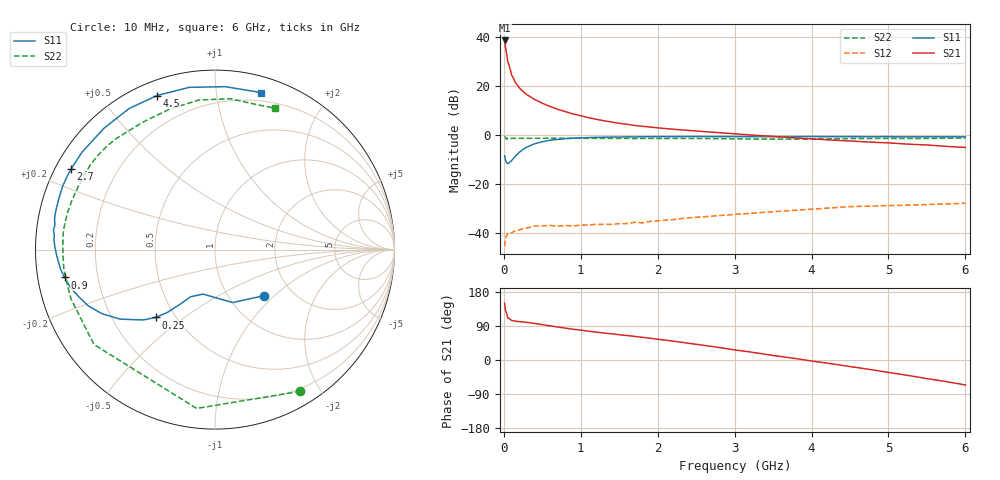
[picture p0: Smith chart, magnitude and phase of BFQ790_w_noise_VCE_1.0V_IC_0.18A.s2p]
! Infineon Technologies  Discrete & RF Semiconductors
! BFQ790
! VCE =  1.0 V,  IC = 0.18 A
! Common Emitter S-Parameters:  May 2015
# GHz  S  MA  R  50
!  f  S11  S21  S12  S22
! GHz  MAG  ANG  MAG  ANG  MAG  ANG  MAG  ANG
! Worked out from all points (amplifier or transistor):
!   77 points, 10 MHz to 6 GHz, reference 50 ohm
!   highest |S21| = 38.5 dB at 10 MHz (marker M1)
!   |S21| within 3 dB of that: start of sweep to 22.84 MHz
!   unconditionally stable (mu >= 1): 266.2 MHz to end of sweep
!   at 130 MHz: K = 0.74, MSG = 31.1 dB, |S12| = -39.5 dB
!   at 2.2 GHz: K = 1.29, MAG = 15.2 dB, |S12| = -34.7 dB
!   at 6 GHz: K = 1.17, MAG = 8.9 dB, |S12| = -28.0 dB
!   lowest NFmin = 3.17 dB at 1.5 GHz
!   S11 on the Smith chart (normalised r, x): 10 MHz: 1.44, -0.86; 250 MHz: 0.39, -0.39; 900 MHz: 0.08, -0.09; 2.7 GHz: 0.05, +0.26; 4.5 GHz: 0.06, +0.69; 6 GHz: 0.13, +1.33
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0.01  0.3736 -43.5  84.5 149.9  0.0053 57.3  0.9218 -58.9
0.02  0.3108 -71.6  63.19 131.0  0.0076 42.4  0.8908 -96.6
0.05  0.2566 -104.9  31.5 111.1  0.0097 20.5  0.8569 -141.9
0.1  0.2956 -117.3  16.79 104.2  0.0099 13.4  0.8481 -161.1
0.15  0.3645 -122.8  11.7 102.4  0.011 17.5  0.8464 -168.8
0.2  0.4378 -127.1  9.155 101.3  0.0114 17.5  0.8491 -172.9
0.25  0.5025 -131.2  7.63 100.4  0.0121 14.4  0.8474 -175.7
0.3  0.5605 -135.6  6.574 99.2  0.0124 12.9  0.8473 -177.9
0.4  0.6554 -143.8  5.263 96.3  0.0137 14.2  0.848 178.8
0.5  0.7225 -150.3  4.397 93.2  0.0138 10.9  0.8489 176.3
0.6  0.7724 -156.0  3.794 90.2  0.0141 12.0  0.8504 174.1
0.7  0.8043 -161.1  3.317 87.0  0.0136 11.3  0.8504 172.0
0.9  0.852 -169.5  2.668 81.2  0.0138 8.6  0.848 168.7
1.1  0.8766 -176.0  2.241 76.1  0.0144 10.5  0.8469 165.5
1.5  0.8993 174.8  1.72 66.8  0.0153 13.7  0.8406 159.9
2.1  0.9139 163.6  1.341 52.4  0.018 12.8  0.8386 150.9
2.7  0.9179 150.8  1.132 35.8  0.0217 8.7  0.8346 138.7
3.1  0.9151 141.6  1.019 24.0  0.0242 3.3  0.8229 129.4
4.1  0.9171 119.2  0.807 -5.4  0.0309 -12.1  0.8225 105.7
4.5  0.9171 110.6  0.749 -17.3  0.0341 -19.5  0.8383 96.2
5.1  0.9106 96.5  0.667 -35.8  0.036 -33.3  0.8421 82.1
6  0.9118 73.6  0.552 -66.0  0.04 -53.6  0.8557 67.0
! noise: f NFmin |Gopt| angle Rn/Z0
0.45  5.2  0.46  140  0.5
0.9  3.66  0.59  168  0.16
1.5  3.17  0.7  -173  0.09
1.8  3.24  0.71  -167  0.1
2.6  3.51  0.74  -152  0.25
3.5  4.07  0.82  -136  0.56
